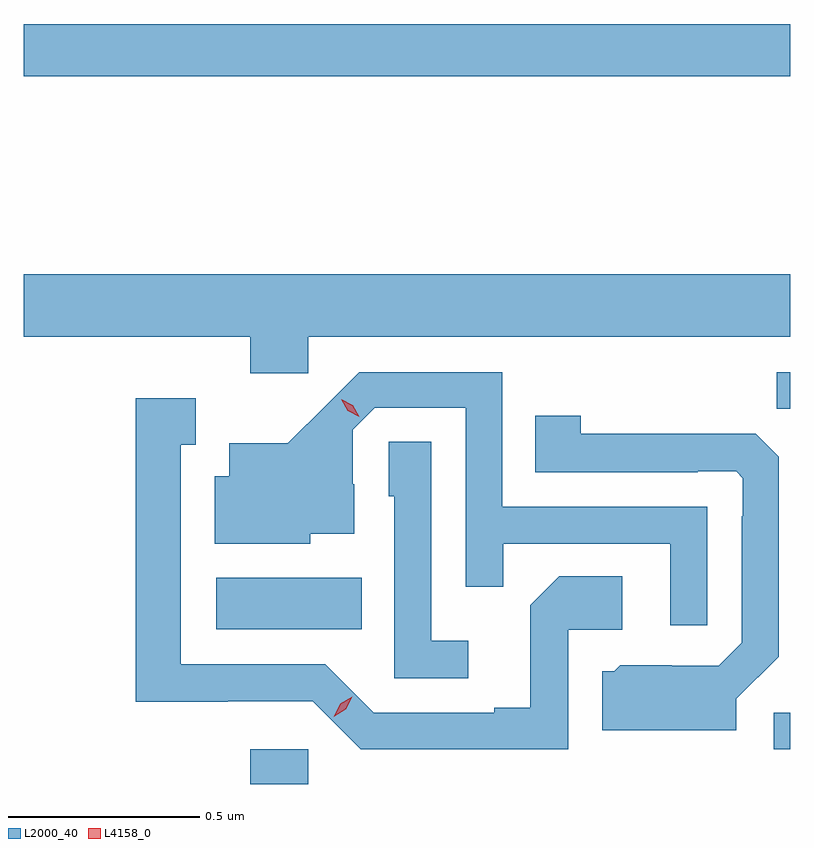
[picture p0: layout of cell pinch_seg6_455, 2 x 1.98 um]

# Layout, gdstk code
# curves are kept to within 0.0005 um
import gdstk
lib = gdstk.Library(unit=1e-6, precision=1e-09)
def R(c, l, rs):  # rectangles x0, y0, x1, y1
    for r in rs: c.add(gdstk.rectangle(r[:2], r[2:], *l))
def P(c, l, *ps):  # polygons
    for p in ps: c.add(gdstk.Polygon(p, *l))
L2000_40 = (2000, 40)
L4158_0 = (4158, 0)

pinch_seg6_455 = lib.new_cell('pinch_seg6_455')
R(pinch_seg6_455, L2000_40, [(724.211,915.534,724.362,915.625), (725.577,915.624,725.62,915.72), (724.122,915.938,724.502,916.072), (725.584,916.513,725.62,916.608), (723.62,917.38,725.62,917.516)])
P(pinch_seg6_455, L2000_40, [(724.362,916.7),(725.62,916.7),(725.62,916.864),(723.62,916.864),(723.62,916.7),(724.211,916.7),(724.211,916.605),(724.362,916.605)],
  [(725.403,916.257),(724.869,916.257),(724.869,916.608),(724.496,916.608),(724.309,916.423),(724.157,916.423),(724.157,916.336),(724.118,916.336),(724.118,916.16),(724.368,916.16),(724.368,916.187),(724.483,916.187),(724.483,916.316),(724.479,916.316),(724.479,916.458),(724.536,916.515),(724.773,916.515),(724.773,916.048),(724.871,916.048),(724.871,916.161),(725.307,916.161),(725.307,915.948),(725.403,915.948)],
  [(725.04,915.936),(725.182,915.936),(725.182,916.076),(725.017,916.076),(724.941,916),(724.941,915.733),(724.847,915.733),(724.847,915.72),(724.533,915.72),(724.407,915.846),(724.03,915.846),(724.03,916.419),(724.069,916.419),(724.069,916.54),(723.912,916.54),(723.912,915.749),(724.152,915.749),(724.152,915.75),(724.374,915.75),(724.5,915.624),(725.04,915.624)],
  [(725.479,915.756),(725.589,915.866),(725.589,916.388),(725.53,916.447),(725.429,916.447),(725.429,916.448),(725.073,916.448),(725.073,916.495),(724.954,916.495),(724.954,916.347),(725.378,916.347),(725.378,916.35),(725.478,916.35),(725.496,916.332),(725.496,916.232),(725.493,916.232),(725.493,915.903),(725.433,915.843),(725.31,915.843),(725.31,915.844),(725.176,915.844),(725.16,915.828),(725.129,915.828),(725.129,915.674),(725.479,915.674)],
  [(724.78,915.907),(724.683,915.907),(724.683,916.427),(724.572,916.427),(724.572,916.284),(724.587,916.284),(724.587,915.81),(724.78,915.81)])
P(pinch_seg6_455, L4158_0, [(724.495,916.492),(724.465,916.507),(724.448,916.537),(724.448,916.537),(724.449,916.537),(724.479,916.522),(724.496,916.492),(724.496,916.492)],
  [(724.429,915.71),(724.429,915.71),(724.446,915.743),(724.477,915.762),(724.477,915.762),(724.477,915.762),(724.46,915.729),(724.429,915.71)])

lib.write_gds('pinch_seg6_455.gds')
